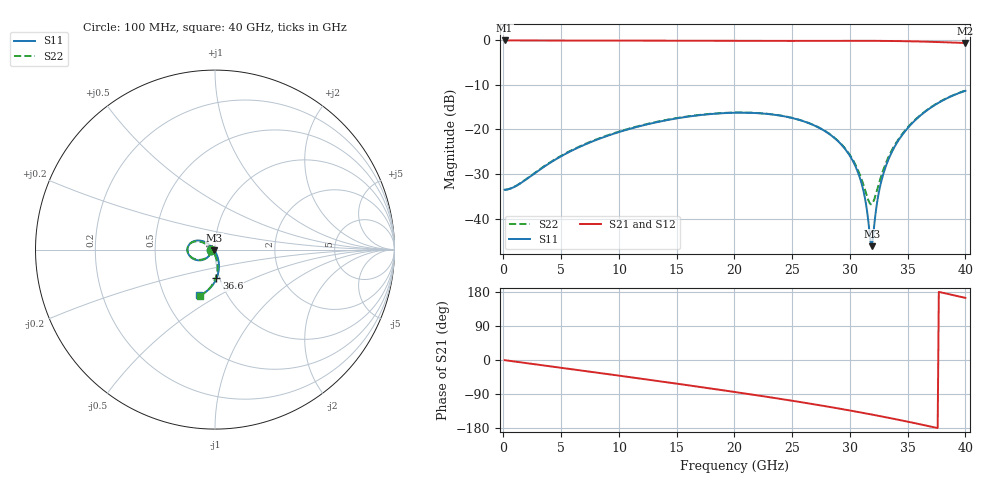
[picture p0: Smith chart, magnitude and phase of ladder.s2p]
! E_s8_L1L8_p1000_oval_g4: via ladder as kisi uses it (kisi_si::via_pbm, graded grid, junction model), differential mode (per line 50 ohm)
# Hz S RI R 50
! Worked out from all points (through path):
!   400 points, 100 MHz to 40 GHz, reference 50 ohm
!   highest |S21| = -0.19 dB at 100 MHz (marker M1); lowest = -0.8 dB at 40 GHz (marker M2)
!   group delay of S21, straight-line fit = 13.2 ps
!   lowest |S11| = -46.0 dB at 31.9 GHz (marker M3), VSWR 1.01, Z = 49.6 - j0.338 ohm
!   |S11| at or under -10 dB: start of sweep to end of sweep
!   |S22| runs from -36.7 to -11.4 dB; largest |S21 - S12| = 0
!   S11 on the Smith chart (normalised r, x): 100 MHz: 0.96, -0.00; 36.6 GHz: 0.97, -0.32; 40 GHz: 0.74, -0.41
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1e8  -0.0212 -0.000768  0.9788 -0.007  0.9788 -0.007  -0.0212 -0.000773
1.1e9  -0.0219 -0.00843  0.9757 -0.0769  0.9757 -0.0769  -0.0219 -0.00847
4.3e9  -0.0313 -0.0317  0.9321 -0.2963  0.9321 -0.2963  -0.0321 -0.0316
6.8e9  -0.046 -0.0467  0.8631 -0.4577  0.8631 -0.4577  -0.0479 -0.046
1.34e10  -0.1068 -0.0573  0.5496 -0.8016  0.5496 -0.8016  -0.1099 -0.0538
2.01e10  -0.1531 -0.00741  0.0889 -0.9628  0.0889 -0.9628  -0.154 -0.00456
2.38e10  -0.1398 0.0325  -0.1969 -0.9469  -0.1969 -0.9469  -0.1404 0.0318
2.67e10  -0.102 0.0504  -0.4232 -0.8718  -0.4232 -0.8718  -0.1043 0.0463
2.89e10  -0.0608 0.0445  -0.588 -0.7724  -0.588 -0.7724  -0.0654 0.0387
3.04e10  -0.0308 0.0268  -0.6918 -0.6813  -0.6918 -0.6813  -0.0371 0.0206
3.08e10  -0.0231 0.02  -0.7177 -0.6538  -0.7177 -0.6538  -0.0298 0.0138
3.12e10  -0.0157 0.0123  -0.7427 -0.6248  -0.7427 -0.6248  -0.0227 0.0061
3.15e10  -0.0104 0.00589  -0.7608 -0.6022  -0.7608 -0.6022  -0.0177 -0.000193
3.18e10  -0.00529 -0.000997  -0.7783 -0.5788  -0.7783 -0.5788  -0.0129 -0.00697
3.19e10  -0.00366 -0.0034  -0.784 -0.5708  -0.784 -0.5708  -0.0114 -0.00933
3.22e10  0.00099 -0.0109  -0.8007 -0.5464  -0.8007 -0.5464  -0.00692 -0.0167
3.25e10  0.00529 -0.019  -0.8166 -0.5212  -0.8166 -0.5212  -0.00281 -0.0246
3.29e10  0.0104 -0.0304  -0.8367 -0.4865  -0.8367 -0.4865  0.00211 -0.0357
3.34e10  0.0156 -0.0457  -0.8597 -0.4414  -0.8597 -0.4414  0.0072 -0.0506
3.47e10  0.0221 -0.09  -0.9077 -0.3157  -0.9077 -0.3157  0.0138 -0.0936
3.66e10  0.00835 -0.1601  -0.9418 -0.1158  -0.9418 -0.1158  0.0022 -0.1619
4e10  -0.0877 -0.2544  -0.8806 0.2547  -0.8806 0.2547  -0.0854 -0.2565
